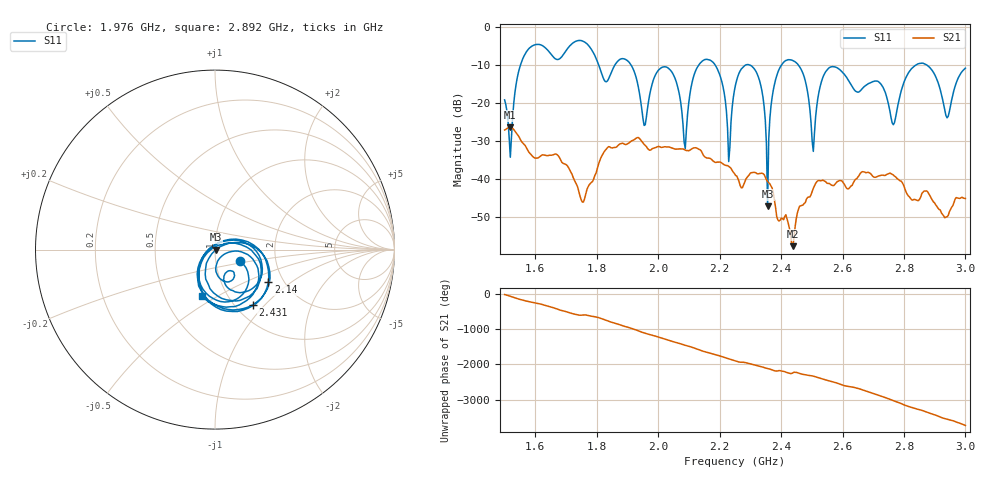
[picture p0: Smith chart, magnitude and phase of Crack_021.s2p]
# HZ S RI R 50
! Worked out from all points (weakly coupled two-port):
!   404 points, 1.5 GHz to 3 GHz, reference 50 ohm
!   highest |S21| = -26.30 dB at 1.519 GHz (marker M1); lowest = -57.6 dB at 2.438 GHz (marker M2)
!   lowest |S11| = -47.0 dB at 2.356 GHz (marker M3), VSWR 1.01, Z = 50.4 - j0.0772 ohm
!   |S11| at or under -10 dB: 1.912 GHz to 2.132 GHz (219.7 MHz wide, 10.9 % of centre); 2.457 GHz to 2.838 GHz (381.6 MHz wide, 14.4 % of centre); 2.875 GHz to end of sweep (the widest 3 of 7)
!   S12 and S22 are empty: the file has one direction only
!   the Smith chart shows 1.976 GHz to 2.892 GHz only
!   S11 on the Smith chart (normalised r, x): 1.976 GHz: 1.31, -0.18; 2.14 GHz: 1.67, -0.69; 2.431 GHz: 1.20, -0.86; 2.892 GHz: 0.76, -0.43
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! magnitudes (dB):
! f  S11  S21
! 1.5 GHz  -19.1  -27.0
! 1.519 GHz  -34.2  -26.3
! 1.574 GHz  -6.1  -32.2
! 1.753 GHz  -3.6  -46.0
! 1.976 GHz  -16.2  -32.3
! 2.002 GHz  -11.2  -31.4
! 2.088 GHz  -31.9  -32.3
! 2.14 GHz  -9.2  -32.5
! 2.196 GHz  -11.6  -35.5
! 2.23 GHz  -35.3  -36.6
! 2.252 GHz  -15.1  -39.0
! 2.319 GHz  -11.7  -38.3
! 2.356 GHz  -47.0  -40.6
! 2.382 GHz  -13.8  -47.4
! 2.431 GHz  -8.6  -54.1
! 2.438 GHz  -8.8  -57.6
! 2.501 GHz  -30.0  -43.2
! 2.565 GHz  -10.4  -41.5
! 2.751 GHz  -20.6  -38.5
! 2.892 GHz  -11.4  -45.4
! 2.94 GHz  -23.8  -49.8
! 3 GHz  -10.8  -45.0
